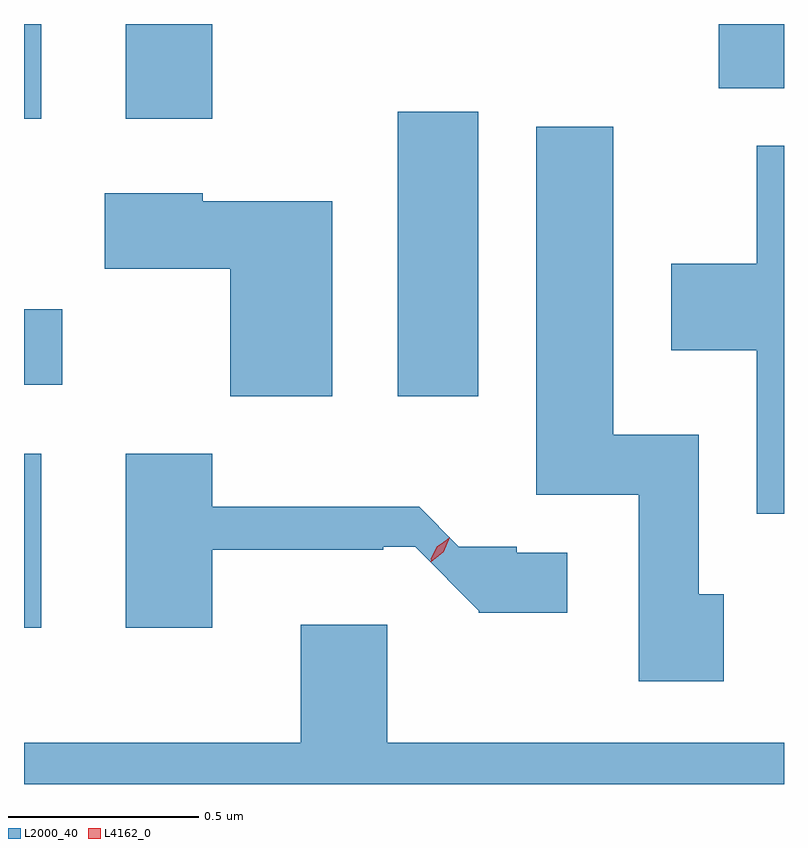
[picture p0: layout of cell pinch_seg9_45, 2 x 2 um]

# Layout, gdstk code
import gdstk
lib = gdstk.Library(unit=1e-6, precision=1e-09)
def R(c, l, rs):  # rectangles x0, y0, x1, y1
    for r in rs: c.add(gdstk.rectangle(r[:2], r[2:], *l))
def P(c, l, *ps):  # polygons
    for p in ps: c.add(gdstk.Polygon(p, *l))
L2000_40 = (2000, 40)
L4162_0 = (4162, 0)

pinch_seg9_45 = lib.new_cell('pinch_seg9_45')
R(pinch_seg9_45, L2000_40, [(630.563,2003.486,630.609,2003.944), (631.546,2004.096,631.759,2004.844), (630.563,2004.126,630.664,2004.324), (630.563,2004.826,630.609,2005.075), (630.831,2004.826,631.059,2005.075), (632.391,2004.906,632.563,2005.075)])
P(pinch_seg9_45, L2000_40, [(632.404,2003.574),(632.339,2003.574),(632.339,2003.994),(632.114,2003.994),(632.114,2004.804),(631.911,2004.804),(631.911,2003.836),(632.181,2003.836),(632.181,2003.346),(632.404,2003.346)],
  [(632.563,2004.754),(632.491,2004.754),(632.491,2004.444),(632.266,2004.444),(632.266,2004.216),(632.491,2004.216),(632.491,2003.786),(632.563,2003.786)],
  [(631.374,2004.609),(631.034,2004.609),(631.034,2004.629),(630.776,2004.629),(630.776,2004.431),(631.106,2004.431),(631.106,2004.096),(631.374,2004.096)],
  [(631.059,2003.692),(631.509,2003.692),(631.509,2003.699),(631.592,2003.699),(631.76,2003.531),(631.76,2003.526),(631.993,2003.526),(631.993,2003.684),(631.86,2003.684),(631.86,2003.7),(631.707,2003.7),(631.603,2003.804),(631.059,2003.804),(631.059,2003.944),(630.831,2003.944),(630.831,2003.486),(631.059,2003.486)],
  [(632.563,2003.184),(631.519,2003.184),(631.519,2003.494),(631.291,2003.494),(631.291,2003.184),(630.563,2003.184),(630.563,2003.075),(632.563,2003.075)])
P(pinch_seg9_45, L4162_0, [(631.634,2003.659),(631.634,2003.66),(631.651,2003.698),(631.684,2003.725),(631.684,2003.725),(631.684,2003.724),(631.667,2003.686),(631.634,2003.659)],
  [(631.634,2003.666),(631.634,2003.667),(631.649,2003.7),(631.679,2003.72),(631.68,2003.72),(631.68,2003.72),(631.665,2003.687),(631.635,2003.666)])

lib.write_gds('pinch_seg9_45.gds')
